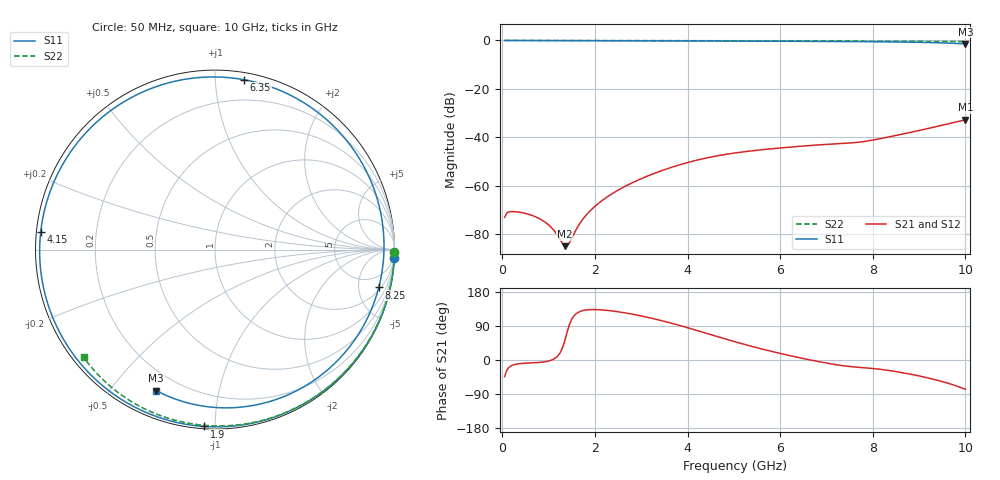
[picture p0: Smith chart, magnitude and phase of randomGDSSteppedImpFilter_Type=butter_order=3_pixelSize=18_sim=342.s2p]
! freq	dB(S11)	phase(S11)	dB(S12)	phase(S12)
!  dB(S21)	phase(S21)	dB(S22)	phase(S22)
!S-par simulation data
#  GHz  S  DB  R 50
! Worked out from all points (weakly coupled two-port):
!   200 points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, 50 MHz to 10 GHz, reference 50 ohm
!   highest |S21| = -32.80 dB at 10 GHz (marker M1); lowest = -85.0 dB at 1.35 GHz (marker M2)
!   lowest |S11| = -1.4 dB at 10 GHz (marker M3), VSWR 12.43, Z = 5.79 - j33 ohm
!   |S11| at or under -10 dB: nowhere
!   |S22| runs from -0.5 to 0.0 dB; largest |S21 - S12| = 0
!   S11 on the Smith chart (normalised r, x): 50 MHz: 0, -44; 1.9 GHz: 0.01, -0.94; 4.15 GHz: 0.01, +0.05; 6.35 GHz: 0.05, +1.18; 8.25 GHz: 2.36, -8.09; 10 GHz: 0.12, -0.66
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0.05  -0.00 -2.6  -73.11 -43.8  -73.11 -43.8  -0.00 -0.8
0.15  -0.00 -7.8  -70.83 -18.6  -70.83 -18.6  -0.00 -2.4
0.55  -0.03 -28.6  -71.75 -8.1  -71.75 -8.1  -0.01 -9.0
0.9  -0.05 -46.3  -74.77 -5.1  -74.77 -5.1  -0.02 -14.6
1.2  -0.07 -61.0  -80.76 10.9  -80.76 10.9  -0.02 -19.4
1.35  -0.08 -68.1  -85.03 51.2  -85.03 51.2  -0.03 -21.8
1.55  -0.09 -77.5  -79.77 116.8  -79.77 116.8  -0.03 -25.0
1.75  -0.10 -86.7  -73.63 130.7  -73.63 130.7  -0.04 -28.2
1.9  -0.11 -93.5  -70.37 133.0  -70.37 133.0  -0.04 -30.5
2.6  -0.14 -123.7  -60.83 125.4  -60.83 125.4  -0.05 -41.4
3.4  -0.17 -156.2  -54.10 105.1  -54.10 105.1  -0.07 -53.5
4.15  -0.21 174.1  -49.71 79.9  -49.71 79.9  -0.09 -64.6
5.05  -0.26 137.6  -46.43 47.3  -46.43 47.3  -0.12 -77.3
5.75  -0.31 107.6  -44.89 24.6  -44.89 24.6  -0.15 -86.9
6.35  -0.35 80.3  -43.87 7.7  -43.87 7.7  -0.17 -94.9
6.7  -0.38 63.8  -43.35 -1.1  -43.35 -1.1  -0.19 -99.5
7.5  -0.45 24.6  -42.39 -17.1  -42.39 -17.1  -0.24 -109.7
8.25  -0.57 -13.0  -40.26 -25.9  -40.26 -25.9  -0.30 -119.1
8.35  -0.59 -18.1  -39.86 -27.7  -39.86 -27.7  -0.31 -120.4
9.3  -0.90 -68.1  -35.92 -50.5  -35.92 -50.5  -0.40 -132.0
9.65  -1.10 -88.8  -34.35 -62.3  -34.35 -62.3  -0.44 -136.3
10  -1.40 -112.7  -32.80 -77.3  -32.80 -77.3  -0.48 -140.6
